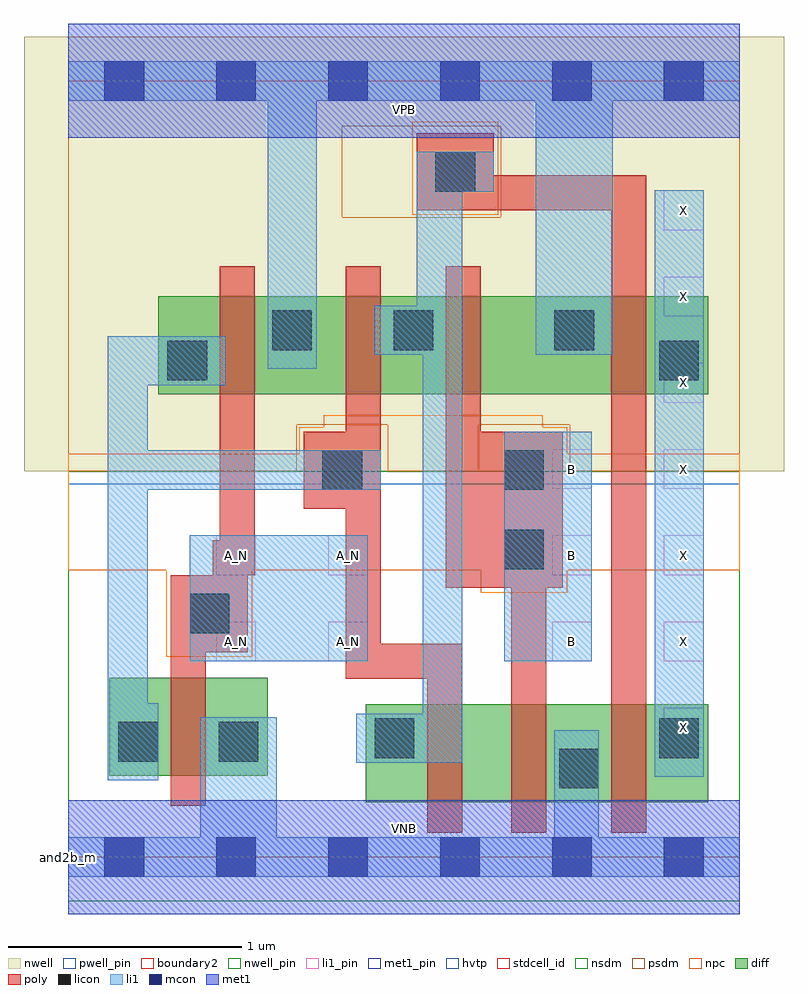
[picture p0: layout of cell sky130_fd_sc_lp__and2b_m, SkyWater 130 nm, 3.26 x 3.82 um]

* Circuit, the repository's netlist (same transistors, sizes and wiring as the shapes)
* Copyright 2020 The SkyWater PDK Authors
*
* Licensed under the Apache License, Version 2.0 (the "License");
* you may not use this file except in compliance with the License.
* You may obtain a copy of the License at
*
*     https://www.apache.org/licenses/LICENSE-2.0
*
* Unless required by applicable law or agreed to in writing, software
* distributed under the License is distributed on an "AS IS" BASIS,
* WITHOUT WARRANTIES OR CONDITIONS OF ANY KIND, either express or implied.
* See the License for the specific language governing permissions and
* limitations under the License.
*
* SPDX-License-Identifier: Apache-2.0

.SUBCKT sky130_fd_sc_lp__and2b_m A_N B VGND VNB VPB VPWR X
*.PININFO A_N:I B:I VGND:I VNB:I VPB:I VPWR:I X:O
MMP0 y A VPWR VPB sky130_fd_pr__pfet_01v8_hvt m=1 w=0.42U l=0.15U mult=1 sa=0.265
+ sb=0.265 sd=0.28 area=0.063 perim=1.14
MMP1 y B VPWR VPB sky130_fd_pr__pfet_01v8_hvt m=1 w=0.42U l=0.15U mult=1 sa=0.265
+ sb=0.265 sd=0.28 area=0.063 perim=1.14
MMIP0 A A_N VPWR VPB sky130_fd_pr__pfet_01v8_hvt m=1 w=0.42U l=0.15U mult=1 sa=0.265
+ sb=0.265 sd=0.28 area=0.063 perim=1.14
MMIP1 X y VPWR VPB sky130_fd_pr__pfet_01v8_hvt m=1 w=0.42U l=0.15U mult=1 sa=0.265
+ sb=0.265 sd=0.28 area=0.063 perim=1.14
MMN0 y A sndA VNB sky130_fd_pr__nfet_01v8 m=1 w=0.42U l=0.15U mult=1 sa=0.265 sb=0.265
+ sd=0.28 area=0.063 perim=1.14
MMN1 sndA B VGND VNB sky130_fd_pr__nfet_01v8 m=1 w=0.42U l=0.15U mult=1 sa=0.265
+ sb=0.265 sd=0.28 area=0.063 perim=1.14
MMIN0 A A_N VGND VNB sky130_fd_pr__nfet_01v8 m=1 w=0.42U l=0.15U mult=1 sa=0.265
+ sb=0.265 sd=0.28 area=0.063 perim=1.14
MMIN1 X y VGND VNB sky130_fd_pr__nfet_01v8 m=1 w=0.42U l=0.15U mult=1 sa=0.265
+ sb=0.265 sd=0.28 area=0.063 perim=1.14
.ENDS sky130_fd_sc_lp__and2b_m

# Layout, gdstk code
import gdstk
lib = gdstk.Library(unit=1e-6, precision=1e-09)
def R(c, l, rs):  # rectangles x0, y0, x1, y1
    for r in rs: c.add(gdstk.rectangle(r[:2], r[2:], *l))
def A(c, l, x, y, w, h, nx, ny, dx, dy):  # array of equal rectangles
    R(c, l, [(x+i*dx, y+j*dy, x+i*dx+w, y+j*dy+h) for i in range(nx) for j in range(ny)])
def P(c, l, *ps):  # polygons
    for p in ps: c.add(gdstk.Polygon(p, *l))
nwell_pin = (64, 16)
nwell = (64, 20)
diff = (65, 20)
poly = (66, 20)
licon = (66, 44)
li1_pin = (67, 16)
li1 = (67, 20)
mcon = (67, 44)
met1_pin = (68, 16)
met1 = (68, 20)
hvtp = (78, 44)
stdcell_id = (81, 4)
nsdm = (93, 44)
psdm = (94, 20)
npc = (95, 20)
pwell_pin = (122, 16)
boundary2 = (236, 0)

sky130_fd_sc_lp__and2b_m = lib.new_cell('sky130_fd_sc_lp__and2b_m')
R(sky130_fd_sc_lp__and2b_m, nwell_pin, [(0,3.085,2.88,3.33)])
R(sky130_fd_sc_lp__and2b_m, nwell, [(-0.19,1.655,3.07,3.52)])
R(sky130_fd_sc_lp__and2b_m, diff, [(1.275,0.235,2.745,0.655), (0.175,0.35,0.855,0.77), (0.385,1.985,2.745,2.405)])
P(sky130_fd_sc_lp__and2b_m, poly, [(0.8,2.535),(0.65,2.535),(0.65,1.36),(0.62,1.36),(0.62,1.21),(0.44,1.21),(0.44,0.22),(0.59,0.22),(0.59,0.88),(0.77,0.88),(0.77,1.21),(0.8,1.21)],
  [(1.69,0.915),(1.34,0.915),(1.34,2.535),(1.19,2.535),(1.19,1.825),(1.01,1.825),(1.01,1.495),(1.19,1.495),(1.19,0.765),(1.54,0.765),(1.54,0.105),(1.69,0.105)],
  [(2.12,1.825),(1.77,1.825),(1.77,2.535),(1.62,2.535),(1.62,1.155),(1.9,1.155),(1.9,0.105),(2.05,0.105),(2.05,1.155),(2.12,1.155)],
  [(2.48,2.925),(1.825,2.925),(1.825,3.105),(1.495,3.105),(1.495,2.775),(2.33,2.775),(2.33,0.105),(2.48,0.105)])
R(sky130_fd_sc_lp__and2b_m, licon, [(2.105,0.295,2.275,0.465), (0.215,0.41,0.385,0.58), (0.645,0.41,0.815,0.58), (1.315,0.425,1.485,0.595), (2.535,0.425,2.705,0.595), (0.52,0.96,0.69,1.13), (1.87,1.235,2.04,1.405), (1.09,1.575,1.26,1.745), (1.87,1.575,2.04,1.745), (0.425,2.045,0.595,2.215), (2.535,2.045,2.705,2.215), (0.875,2.175,1.045,2.345), (1.395,2.175,1.565,2.345), (2.085,2.175,2.255,2.345), (1.575,2.855,1.745,3.025)])
A(sky130_fd_sc_lp__and2b_m, li1_pin, 2.555, 0.47, 0.17, 0.17, 1, 7, 0, 0.37)
A(sky130_fd_sc_lp__and2b_m, li1_pin, 2.075, 0.84, 0.17, 0.17, 1, 3, 0, 0.37)
R(sky130_fd_sc_lp__and2b_m, li1_pin, [(0.635,0.84,0.805,1.01), (1.115,0.84,1.285,1.01), (0.635,1.21,0.805,1.38), (1.115,1.21,1.285,1.38)])
R(sky130_fd_sc_lp__and2b_m, li1, [(2.515,0.345,2.725,2.86), (0.52,0.84,1.285,1.38), (1.87,0.84,2.245,1.825)])
P(sky130_fd_sc_lp__and2b_m, li1, [(2.005,2.155),(2.005,3.245),(1.065,3.245),(1.065,2.095),(0.855,2.095),(0.855,3.245),(0,3.245),(0,3.415),(2.88,3.415),(2.88,3.245),(2.335,3.245),(2.335,2.155)],
  [(2.085,0.085),(2.085,0.545),(2.275,0.545),(2.275,0.085),(2.88,0.085),(2.88,-0.085),(0,-0.085),(0,0.085),(0.565,0.085),(0.565,0.6),(0.895,0.6),(0.895,0.085)],
  [(0.34,2.025),(0.34,1.745),(1.34,1.745),(1.34,1.575),(0.34,1.575),(0.34,0.66),(0.385,0.66),(0.385,0.33),(0.17,0.33),(0.17,2.235),(0.675,2.235),(0.675,2.025)],
  [(1.52,0.615),(1.52,2.155),(1.315,2.155),(1.315,2.365),(1.495,2.365),(1.495,3.025),(1.825,3.025),(1.825,2.855),(1.69,2.855),(1.69,0.405),(1.235,0.405),(1.235,0.615)])
A(sky130_fd_sc_lp__and2b_m, mcon, 0.155, -0.085, 0.17, 0.17, 6, 2, 0.48, 3.33)
R(sky130_fd_sc_lp__and2b_m, met1_pin, [(0,0,2.88,0.245), (0,3.085,2.88,3.33)])
R(sky130_fd_sc_lp__and2b_m, met1, [(0,-0.245,2.88,0.245), (0,3.085,2.88,3.575)])
R(sky130_fd_sc_lp__and2b_m, hvtp, [(0,1.6,2.88,3.33)])
R(sky130_fd_sc_lp__and2b_m, stdcell_id, [(0,0,2.88,3.33)])
R(sky130_fd_sc_lp__and2b_m, nsdm, [(0,-0.19,2.88,1.655)])
P(sky130_fd_sc_lp__and2b_m, psdm, [(2.88,3.52),(1.855,3.52),(1.855,2.745),(1.175,2.745),(1.175,3.135),(1.855,3.135),(1.855,3.52),(0,3.52),(0,1.655),(0.98,1.655),(0.98,1.855),(1.37,1.855),(1.37,1.655),(1.76,1.655),(1.76,1.855),(2.15,1.855),(2.15,1.655),(2.88,1.655)])
R(sky130_fd_sc_lp__and2b_m, npc, [(1.475,2.755,1.845,3.155)])
P(sky130_fd_sc_lp__and2b_m, npc, [(2.88,1.73),(2.14,1.73),(2.14,1.845),(2.035,1.845),(2.035,1.895),(1.095,1.895),(1.095,1.845),(0.99,1.845),(0.99,1.73),(0,1.73),(0,1.23),(0.42,1.23),(0.42,0.86),(0.79,0.86),(0.79,1.23),(1.77,1.23),(1.77,1.135),(2.14,1.135),(2.14,1.23),(2.88,1.23)])
R(sky130_fd_sc_lp__and2b_m, pwell_pin, [(0,0,2.88,0.245)])
R(sky130_fd_sc_lp__and2b_m, boundary2, [(0,0,2.88,3.33)])
sky130_fd_sc_lp__and2b_m.add(gdstk.Label('VNB', (1.44,0.123), layer=64, texttype=59))
sky130_fd_sc_lp__and2b_m.add(gdstk.Label('VPB', (1.44,3.208), layer=64, texttype=5))
sky130_fd_sc_lp__and2b_m.add(gdstk.Label('and2b_m', (0,0), layer=83, texttype=44))
sky130_fd_sc_lp__and2b_m.add(gdstk.Label('VPWR', (1.44,3.208), layer=68, texttype=5))
sky130_fd_sc_lp__and2b_m.add(gdstk.Label('VGND', (1.44,0.123), layer=68, texttype=5))
sky130_fd_sc_lp__and2b_m.add(gdstk.Label('B', (2.16,0.925), layer=67, texttype=5))
sky130_fd_sc_lp__and2b_m.add(gdstk.Label('B', (2.16,1.295), layer=67, texttype=5))
sky130_fd_sc_lp__and2b_m.add(gdstk.Label('B', (2.16,1.665), layer=67, texttype=5))
sky130_fd_sc_lp__and2b_m.add(gdstk.Label('A_N', (0.72,0.925), layer=67, texttype=5))
sky130_fd_sc_lp__and2b_m.add(gdstk.Label('A_N', (0.72,1.295), layer=67, texttype=5))
sky130_fd_sc_lp__and2b_m.add(gdstk.Label('A_N', (1.2,0.925), layer=67, texttype=5))
sky130_fd_sc_lp__and2b_m.add(gdstk.Label('A_N', (1.2,1.295), layer=67, texttype=5))
sky130_fd_sc_lp__and2b_m.add(gdstk.Label('X', (2.64,0.555), layer=67, texttype=5))
sky130_fd_sc_lp__and2b_m.add(gdstk.Label('X', (2.64,0.925), layer=67, texttype=5))
sky130_fd_sc_lp__and2b_m.add(gdstk.Label('X', (2.64,1.295), layer=67, texttype=5))
sky130_fd_sc_lp__and2b_m.add(gdstk.Label('X', (2.64,1.665), layer=67, texttype=5))
sky130_fd_sc_lp__and2b_m.add(gdstk.Label('X', (2.64,2.035), layer=67, texttype=5))
sky130_fd_sc_lp__and2b_m.add(gdstk.Label('X', (2.64,2.405), layer=67, texttype=5))
sky130_fd_sc_lp__and2b_m.add(gdstk.Label('X', (2.64,2.775), layer=67, texttype=5))

lib.write_gds('sky130_fd_sc_lp__and2b_m.gds')
